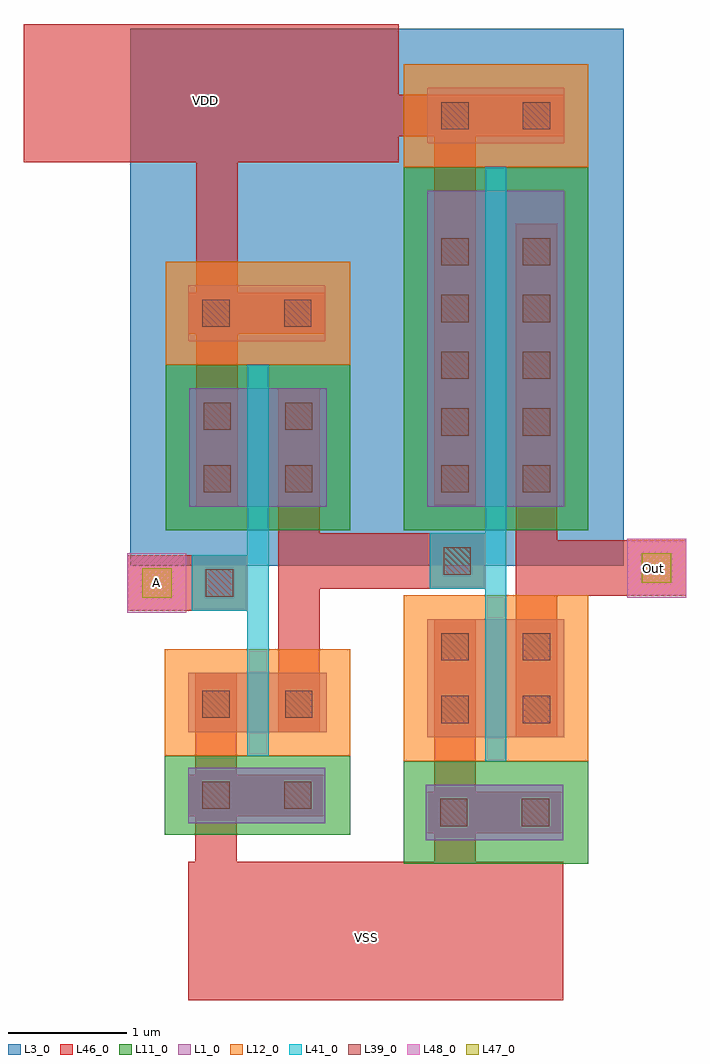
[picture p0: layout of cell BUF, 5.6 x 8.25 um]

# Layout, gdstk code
import gdstk
lib = gdstk.Library(unit=1e-6, precision=1e-09)
def R(c, l, rs):  # rectangles x0, y0, x1, y1
    for r in rs: c.add(gdstk.rectangle(r[:2], r[2:], *l))
def A(c, l, x, y, w, h, nx, ny, dx, dy):  # array of equal rectangles
    R(c, l, [(x+i*dx, y+j*dy, x+i*dx+w, y+j*dy+h) for i in range(nx) for j in range(ny)])
L1_0 = (1, 0)
L3_0 = (3, 0)
L11_0 = (11, 0)
L12_0 = (12, 0)
L39_0 = (39, 0)
L41_0 = (41, 0)
L46_0 = (46, 0)
L47_0 = (47, 0)
L48_0 = (48, 0)

buf = lib.new_cell('BUF')
R(buf, L1_0, [(1155.625,-2363.105,1156.785,-2362.635), (1153.615,-2362.96,1154.775,-2362.49), (1155.635,-2362.235,1156.795,-2361.235), (1153.615,-2362.19,1154.785,-2361.69), (1153.625,-2360.285,1154.785,-2359.285), (1155.635,-2360.285,1156.795,-2357.615), (1153.615,-2358.885,1154.775,-2358.415), (1155.635,-2357.215,1156.795,-2356.745)])
R(buf, L3_0, [(1153.125,-2360.785,1157.295,-2356.245)])
R(buf, L11_0, [(1155.435,-2363.305,1156.995,-2362.435), (1153.415,-2363.06,1154.985,-2362.39), (1153.425,-2360.485,1154.985,-2359.085), (1155.435,-2360.485,1156.995,-2357.415)])
R(buf, L12_0, [(1155.435,-2362.435,1156.995,-2361.035), (1153.415,-2362.39,1154.985,-2361.49), (1153.425,-2359.085,1154.985,-2358.215), (1155.435,-2357.415,1156.995,-2356.545)])
A(buf, L39_0, 1155.755, -2360.165, 0.23, 0.23, 1, 5, 0, 0.48)
A(buf, L39_0, 1156.445, -2360.165, 0.23, 0.23, 1, 5, 0, 0.48)
R(buf, L39_0, [(1155.745,-2362.985,1155.975,-2362.755), (1156.435,-2362.985,1156.665,-2362.755), (1153.735,-2362.84,1153.965,-2362.61), (1154.425,-2362.84,1154.655,-2362.61), (1155.755,-2362.115,1155.985,-2361.885), (1156.445,-2362.115,1156.675,-2361.885), (1153.735,-2362.07,1153.965,-2361.84), (1154.435,-2362.07,1154.665,-2361.84), (1155.755,-2361.585,1155.985,-2361.355), (1156.445,-2361.585,1156.675,-2361.355), (1153.765,-2361.045,1153.995,-2360.815), (1155.775,-2360.86,1156.005,-2360.63), (1153.745,-2360.165,1153.975,-2359.935), (1154.435,-2360.165,1154.665,-2359.935), (1153.745,-2359.635,1153.975,-2359.405), (1154.435,-2359.635,1154.665,-2359.405), (1153.735,-2358.765,1153.965,-2358.535), (1154.425,-2358.765,1154.655,-2358.535), (1155.755,-2357.095,1155.985,-2356.865), (1156.445,-2357.095,1156.675,-2356.865)])
R(buf, L41_0, [(1156.125,-2362.435,1156.305,-2357.415), (1154.115,-2362.39,1154.295,-2359.085), (1153.645,-2361.165,1154.115,-2360.695), (1155.655,-2360.98,1156.125,-2360.51)])
R(buf, L46_0, [(1153.615,-2364.455,1156.785,-2363.285), (1153.675,-2363.285,1154.025,-2361.69), (1155.695,-2363.285,1156.045,-2361.235), (1155.625,-2363.045,1156.785,-2362.695), (1153.615,-2362.9,1154.775,-2362.55), (1156.385,-2362.235,1156.735,-2357.895), (1154.375,-2362.19,1154.725,-2359.285), (1153.1,-2361.165,1154.115,-2360.695), (1156.39,-2361.04,1157.825,-2360.57), (1154.375,-2360.98,1156.125,-2360.51), (1153.685,-2360.285,1154.035,-2357.375), (1155.695,-2360.27,1156.045,-2356.805), (1153.615,-2358.825,1154.775,-2358.475), (1152.225,-2357.375,1155.395,-2356.205), (1155.395,-2357.155,1156.795,-2356.805)])
R(buf, L47_0, [(1153.225,-2361.055,1153.475,-2360.805), (1157.45,-2360.93,1157.7,-2360.68)])
R(buf, L48_0, [(1153.1,-2361.18,1153.6,-2360.68), (1157.325,-2361.055,1157.825,-2360.555)])
buf.add(gdstk.Label('VSS', (1155.12,-2363.925), layer=101, texttype=0))
buf.add(gdstk.Label('VDD', (1153.76,-2356.85), layer=101, texttype=0))
buf.add(gdstk.Label('Out', (1157.545,-2360.805), layer=102, texttype=0))
buf.add(gdstk.Label('A', (1153.35,-2360.93), layer=102, texttype=0))

lib.write_gds('BUF.gds')
